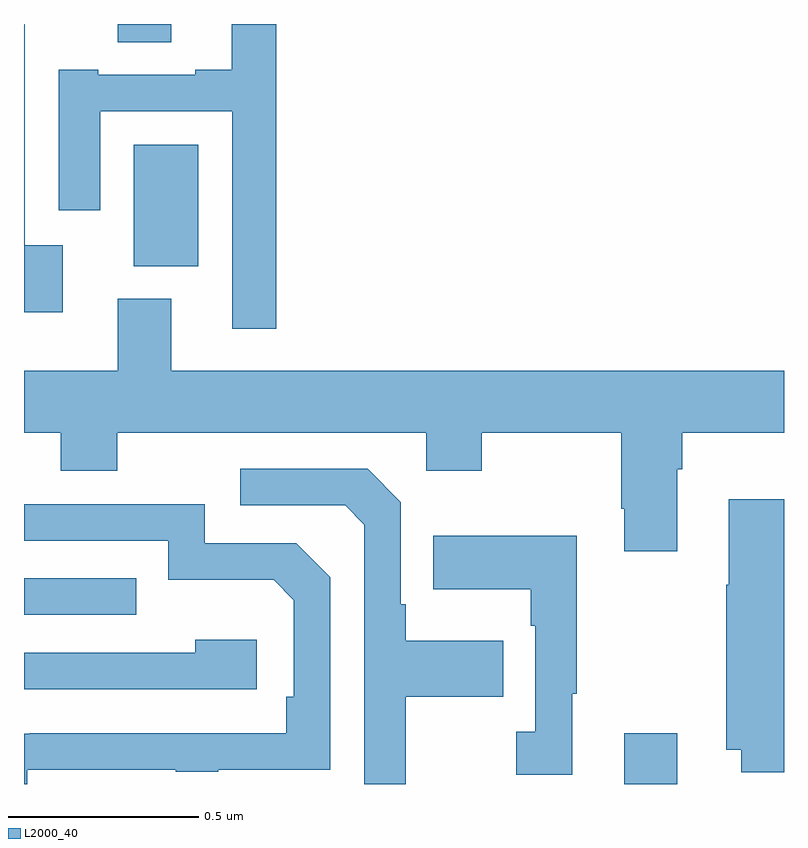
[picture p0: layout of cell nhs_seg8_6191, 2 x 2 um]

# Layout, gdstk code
import gdstk
lib = gdstk.Library(unit=1e-6, precision=1e-09)
def R(c, l, rs):  # rectangles x0, y0, x1, y1
    for r in rs: c.add(gdstk.rectangle(r[:2], r[2:], *l))
def P(c, l, *ps):  # polygons
    for p in ps: c.add(gdstk.Polygon(p, *l))
L2000_40 = (2000, 40)

nhs_seg8_6191 = lib.new_cell('nhs_seg8_6191')
R(nhs_seg8_6191, L2000_40, [(194.579,1124.9,194.719,1125.034), (193,1125.345,193.295,1125.441), (193.289,1126.262,193.459,1126.582), (193.247,1126.852,193.387,1126.9)])
P(nhs_seg8_6191, L2000_40, [(193.664,1126.9),(193.547,1126.9),(193.547,1126.78),(193.451,1126.78),(193.451,1126.767),(193.195,1126.767),(193.195,1126.78),(193.091,1126.78),(193.091,1126.41),(193.201,1126.41),(193.201,1126.671),(193.548,1126.671),(193.548,1126.098),(193.664,1126.098)],
  [(193.102,1126.318),(193.002,1126.318),(193.002,1126.9),(193,1126.9),(193,1126.142),(193.102,1126.142)],
  [(194.719,1125.728),(194.732,1125.728),(194.732,1125.824),(195,1125.824),(195,1125.988),(193.387,1125.988),(193.387,1126.177),(193.247,1126.177),(193.247,1125.988),(193,1125.988),(193,1125.824),(193.097,1125.824),(193.097,1125.725),(193.245,1125.725),(193.245,1125.824),(194.058,1125.824),(194.058,1125.725),(194.205,1125.725),(194.205,1125.824),(194.572,1125.824),(194.572,1125.625),(194.579,1125.625),(194.579,1125.513),(194.719,1125.513)],
  [(194.005,1125.13),(194.261,1125.13),(194.261,1125.277),(194.005,1125.277),(194.005,1125.373),(193.992,1125.373),(193.992,1125.642),(193.905,1125.729),(193.569,1125.729),(193.569,1125.633),(193.845,1125.633),(193.896,1125.582),(193.896,1124.901),(193.895,1124.9),(194.005,1124.9)],
  [(195,1125.649),(194.855,1125.649),(194.855,1125.425),(194.848,1125.425),(194.848,1124.99),(194.888,1124.99),(194.888,1124.931),(195,1124.931)],
  [(193.009,1124.937),(193.399,1124.937),(193.399,1124.932),(193.511,1124.932),(193.511,1124.937),(193.806,1124.937),(193.806,1125.444),(193.716,1125.534),(193.476,1125.534),(193.476,1125.636),(193,1125.636),(193,1125.54),(193.38,1125.54),(193.38,1125.437),(193.657,1125.437),(193.71,1125.384),(193.71,1125.13),(193.69,1125.13),(193.69,1125.033),(193.015,1125.033),(193.015,1125.032),(193,1125.032),(193,1124.9),(193.009,1124.9)],
  [(194.443,1125.137),(194.455,1125.137),(194.455,1125.553),(194.077,1125.553),(194.077,1125.413),(194.334,1125.413),(194.334,1125.317),(194.346,1125.317),(194.346,1125.038),(194.295,1125.038),(194.295,1124.925),(194.443,1124.925)],
  [(193.612,1125.28),(193.451,1125.28),(193.451,1125.246),(193,1125.246),(193,1125.15),(193.612,1125.15)])

lib.write_gds('nhs_seg8_6191.gds')
